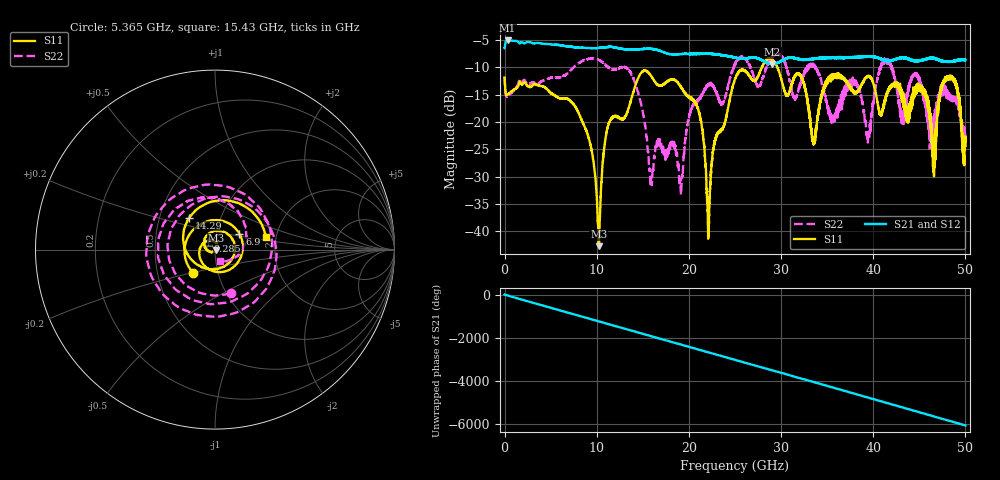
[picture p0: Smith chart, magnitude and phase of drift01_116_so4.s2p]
!Created with skrf (http://scikit-rf.org).
# Hz S RI R 50.0
!freq ReS11 ImS11 ReS21 ImS21 ReS12 ImS12 ReS22 ImS22
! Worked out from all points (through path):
!   10001 points, 300 kHz to 50 GHz, reference 50 ohm
!   highest |S21| = -5.05 dB at 325.3 MHz (marker M1); lowest = -9.4 dB at 29.05 GHz (marker M2)
!   group delay of S21, straight-line fit = 336 ps
!   lowest |S11| = -42.7 dB at 10.22 GHz (marker M3), VSWR 1.01, Z = 50.5 - j0.499 ohm
!   |S11| at or under -10 dB: start of sweep to 27.91 GHz; 29.61 GHz to end of sweep
!   |S22| runs from -33.3 to -7.5 dB; largest |S21 - S12| = 0.014
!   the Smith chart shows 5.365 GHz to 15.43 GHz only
!   S11 on the Smith chart (normalised r, x): 5.365 GHz: 0.76, -0.20; 6.9 GHz: 1.29, +0.23; 9.285 GHz: 0.92, +0.09; 14.29 GHz: 0.71, +0.27; 15.43 GHz: 1.76, +0.27
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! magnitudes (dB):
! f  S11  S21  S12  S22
! 300 kHz  -11.9  -6.4  -6.5  -11.7
! 325.3 MHz  -15.0  -5.1  -5.1  -15.3
! 5.365 GHz  -15.0  -5.9  -5.8  -11.8
! 6.9 GHz  -15.8  -6.1  -6.1  -11.0
! 8.335 GHz  -19.5  -6.4  -6.4  -8.9
! 9.285 GHz  -23.9  -6.4  -6.4  -8.3
! 10.22 GHz  -42.7  -6.4  -6.4  -8.6
! 11.23 GHz  -20.7  -6.2  -6.3  -9.9
! 14.29 GHz  -12.8  -6.7  -6.7  -13.5
! 15.43 GHz  -10.7  -6.6  -6.6  -22.9
! 16.67 GHz  -13.2  -6.9  -6.8  -23.4
! 19.14 GHz  -13.6  -7.5  -7.6  -33.2
! 20.86 GHz  -17.0  -7.5  -7.5  -16.2
! 22.13 GHz  -40.3  -7.5  -7.5  -13.2
! 25 GHz  -12.1  -8.2  -8.2  -9.4
! 29.05 GHz  -8.5  -9.4  -9.4  -8.1
! 33.34 GHz  -22.4  -8.5  -8.4  -9.6
! 39.47 GHz  -11.6  -8.0  -8.0  -22.2
! 41.67 GHz  -13.8  -8.8  -8.8  -9.3
! 46.56 GHz  -29.2  -8.3  -8.2  -21.5
! 48.56 GHz  -12.0  -8.9  -8.9  -15.6
! 50 GHz  -24.3  -8.6  -8.6  -22.9
